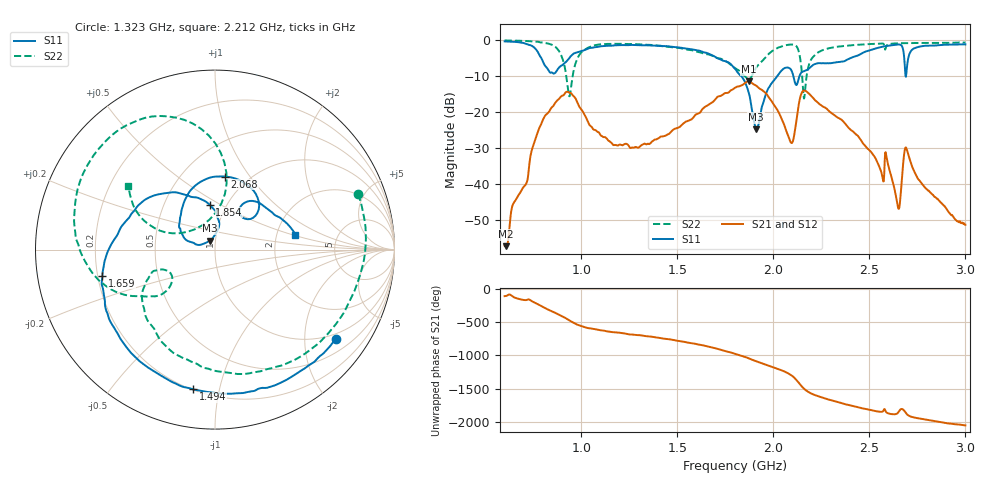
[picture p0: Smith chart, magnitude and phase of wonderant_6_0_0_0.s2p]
#  HZ  S  RI  R  50.00
! Rohde & Schwarz ZVB8 2Ports - Version 2.81 - 1145.1010k08 SN: 100113
! Date: 2016-05-17 22:36:48
! Measurements: S11 S21 S12 S22
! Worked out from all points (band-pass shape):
!   1000 points, 600 MHz to 3 GHz, reference 50 ohm
!   highest |S21| = -11.58 dB at 1.871 GHz (marker M1); lowest = -57.2 dB at 604.8 MHz (marker M2)
!   |S21| within 3 dB of the highest: 1.768 GHz to 1.956 GHz (187.8 MHz wide, 10.1 % of centre); 2.149 GHz to 2.177 GHz (28.61 MHz wide, 1.32 % of centre)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
!   lowest |S11| = -24.9 dB at 1.909 GHz (marker M3), VSWR 1.12, Z = 47.2 + j4.8 ohm
!   |S11| at or under -10 dB: 1.83 GHz to 2.021 GHz (191 MHz wide, 9.92 % of centre); 2.104 GHz to 2.136 GHz (32.71 MHz wide, 1.54 % of centre); 2.688638 GHz to 2.6908 GHz (2.162 MHz wide, 0.0804 % of centre)
!   |S22| runs from -16.3 to -0.2 dB; largest |S21 - S12| = 0.0019
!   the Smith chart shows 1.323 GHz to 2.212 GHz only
!   S11 on the Smith chart (normalised r, x): 1.323 GHz: 0.84, -2.80; 1.494 GHz: 0.20, -0.83; 1.659 GHz: 0.22, -0.11; 1.854 GHz: 0.83, +0.45; 2.068 GHz: 0.79, +0.77; 2.212 GHz: 2.54, +0.53
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6e8  -0.8174 0.4782  -0.000547 -0.00129  -0.000536 -0.0013  -0.948 0.2306
6.048048e8  -0.8022 0.4996  -0.000478 -0.0013  -0.00051 -0.00131  -0.9418 0.2514
8.186186e8  0.104 0.3977  0.0521 0.0771  0.0519 0.0773  -0.2111 0.8674
9.003003e8  -0.07 0.4377  0.0904 -0.1419  0.091 -0.1407  0.3984 0.3888
9.435435e8  -0.0577 0.5855  -0.1095 -0.1464  -0.1091 -0.1466  -0.0872 -0.1722
1.001201e9  0.195 0.6693  -0.0985 0.0405  -0.0987 0.0402  -0.5376 0.4033
1.128529e9  0.7082 0.4156  0.00654 0.0429  0.0064 0.0431  0.0626 0.8699
1.323123e9  0.672 -0.4988  0.0348 0.00817  0.0347 0.00836  0.7974 0.3099
1.4e9  0.3653 -0.742  0.0412 -0.0121  0.0413 -0.0119  0.8207 -0.0963
1.493694e9  -0.1228 -0.778  0.0306 -0.0509  0.0307 -0.0508  0.576 -0.5224
1.659459e9  -0.6278 -0.1451  -0.1079 -0.0616  -0.1079 -0.062  -0.2004 -0.5924
1.801201e9  -0.2294 0.3196  -0.0453 0.2116  -0.0461 0.2112  -0.3703 -0.1582
1.854054e9  -0.0295 0.2505  0.1489 0.2056  0.1477 0.2064  -0.2848 -0.1117
1.870871e9  0.0119 0.1867  0.2193 0.1464  0.2188 0.1474  -0.2473 -0.132
1.909309e9  -0.0263 0.0507  0.2292 -0.0357  0.2293 -0.0349  -0.3156 -0.2566
2.067868e9  0.0563 0.4069  -0.0538 -0.00308  -0.0538 -0.00308  -0.7544 0.3727
2.144745e9  0.2223 0.2688  0.1685 -0.0512  0.1687 -0.0503  0.0635 0.4279
2.2e9  0.4107 0.1354  -0.1191 -0.1108  -0.1188 -0.111  -0.4683 0.2859
2.212012e9  0.4474 0.0833  -0.1331 -0.07  -0.1329 -0.0703  -0.482 0.3566
2.38018e9  0.264 -0.4487  0.0309 0.0574  0.0306 0.0577  0.028 0.8233
2.601201e9  -0.555 -0.6153  0.00477 -0.0163  0.00489 -0.0163  0.7227 0.4787
3e9  -0.6532 0.5609  -0.000826 0.00262  -0.000873 0.00266  0.5444 -0.7313
